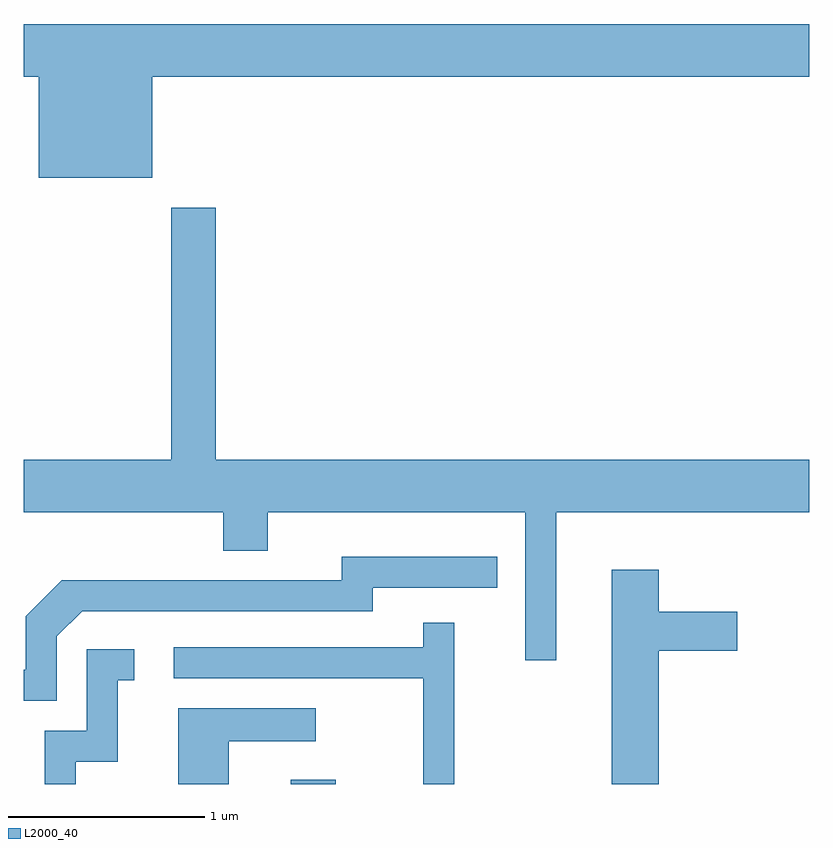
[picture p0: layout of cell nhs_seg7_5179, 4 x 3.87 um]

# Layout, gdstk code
import gdstk
lib = gdstk.Library(unit=1e-6, precision=1e-09)
def R(c, l, rs):  # rectangles x0, y0, x1, y1
    for r in rs: c.add(gdstk.rectangle(r[:2], r[2:], *l))
def P(c, l, *ps):  # polygons
    for p in ps: c.add(gdstk.Polygon(p, *l))
L2000_40 = (2000, 40)

nhs_seg7_5179 = lib.new_cell('nhs_seg7_5179')
R(nhs_seg7_5179, L2000_40, [(344.971,1726.252,345.199,1726.274)])
P(nhs_seg7_5179, L2000_40, [(344.264,1729.856),(347.611,1729.856),(347.611,1730.124),(343.611,1730.124),(343.611,1729.856),(343.686,1729.856),(343.686,1729.341),(344.264,1729.341)],
  [(346.324,1727.636),(347.611,1727.636),(347.611,1727.904),(344.589,1727.904),(344.589,1729.189),(344.361,1729.189),(344.361,1727.904),(343.611,1727.904),(343.611,1727.636),(344.626,1727.636),(344.626,1727.441),(344.854,1727.441),(344.854,1727.636),(346.166,1727.636),(346.166,1726.883),(346.324,1726.883)],
  [(343.779,1727.004),(343.907,1727.131),(345.389,1727.131),(345.389,1727.251),(346.023,1727.251),(346.023,1727.409),(345.231,1727.409),(345.231,1727.289),(343.804,1727.289),(343.621,1727.107),(343.621,1726.834),(343.611,1726.834),(343.611,1726.676),(343.779,1726.676)],
  [(346.844,1726.931),(347.244,1726.931),(347.244,1727.129),(346.844,1727.129),(346.844,1727.344),(346.606,1727.344),(346.606,1726.252),(346.844,1726.252)],
  [(345.804,1727.073),(345.646,1727.073),(345.646,1726.949),(344.373,1726.949),(344.373,1726.791),(345.646,1726.791),(345.646,1726.252),(345.804,1726.252)],
  [(343.874,1726.366),(344.089,1726.366),(344.089,1726.781),(344.173,1726.781),(344.173,1726.939),(343.931,1726.939),(343.931,1726.524),(343.716,1726.524),(343.716,1726.252),(343.874,1726.252)],
  [(344.654,1726.471),(345.098,1726.471),(345.098,1726.639),(344.396,1726.639),(344.396,1726.252),(344.654,1726.252)])

lib.write_gds('nhs_seg7_5179.gds')
